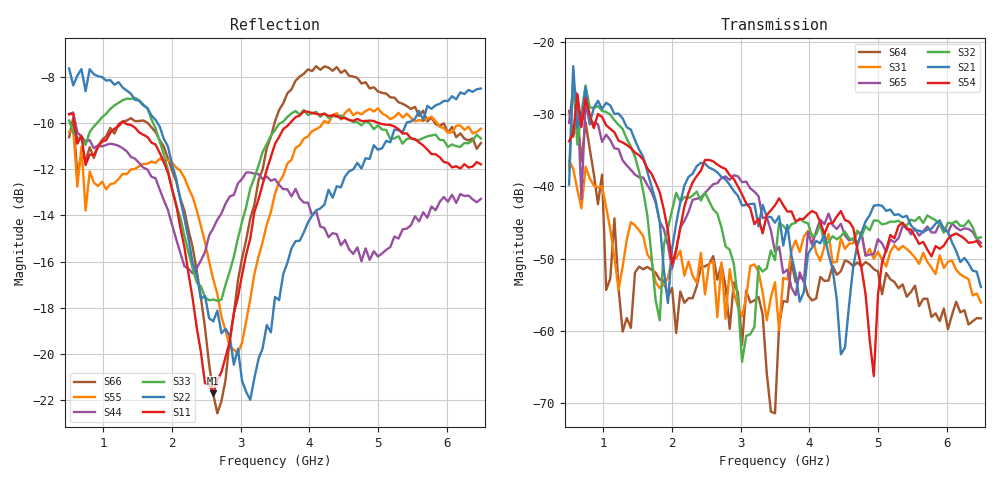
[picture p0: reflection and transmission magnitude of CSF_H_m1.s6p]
!Keysight Technologies,M9804A,MY58100912,A.14.10.03
!Date: Thursday, April 27, 2023 10:28:33
!Correction: S11(C  6-Port  )
!S12(C  6-Port  )
!S13(C  6-Port  )
!S14(C  6-Port  )
!S15(C  6-Port  )
!S16(C  6-Port  )
!S21(C  6-Port  )
!S22(C  6-Port  )
!S23(C  6-Port  )
!S24(C  6-Port  )
!S25(C  6-Port  )
!S26(C  6-Port  )
!S31(C  6-Port  )
!S32(C  6-Port  )
!S33(C  6-Port  )
!S34(C  6-Port  )
!S35(C  6-Port  )
!S36(C  6-Port  )
!S41(C  6-Port  )
!S42(C  6-Port  )
!S43(C  6-Port  )
!S44(C  6-Port  )
!S45(C  6-Port  )
!S46(C  6-Port  )
!S51(C  6-Port  )
!S52(C  6-Port  )
!S53(C  6-Port  )
!S54(C  6-Port  )
!S55(C  6-Port  )
!S56(C  6-Port  )
!S61(C  6-Port  )
!S62(C  6-Port  )
!S63(C  6-Port  )
!S64(C  6-Port  )
!S65(C  6-Port  )
!S66(C  6-Port  )
!S6P File: Measurement: :
# Hz S  RI  R 50
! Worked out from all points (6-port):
!   101 points, 500 MHz to 6.5 GHz, reference 50 ohm
!   strongest paths, dB at 500 MHz, 2 GHz, 3.5 GHz, 5 GHz, 6.5 GHz:
!     S54: -33.8, -50.8, -42.6, -55.1, -48.3
!     S21: -39.7, -48.6, -45.0, -42.6, -53.9
!     S32: -37.7, -43.3, -50.2, -44.7, -47.1
!     S65: -31.2, -51.4, -49.0, -47.3, -47.8
!     S31: -36.4, -49.9, -53.3, -49.0, -56.1
!     S64: -29.5, -54.1, -71.4, -51.8, -58.3
!   lowest |S11| = -21.7 dB at 2.6 GHz (marker M1), VSWR 1.18, Z = 42.7 + j2.05 ohm
!   |S11| at or under -10 dB: 578.7 MHz to 1.259 GHz (680.6 MHz wide, 74.1 % of centre); 1.318 GHz to 3.716 GHz (2.398 GHz wide, 95.3 % of centre); 5.021 GHz to end of sweep
